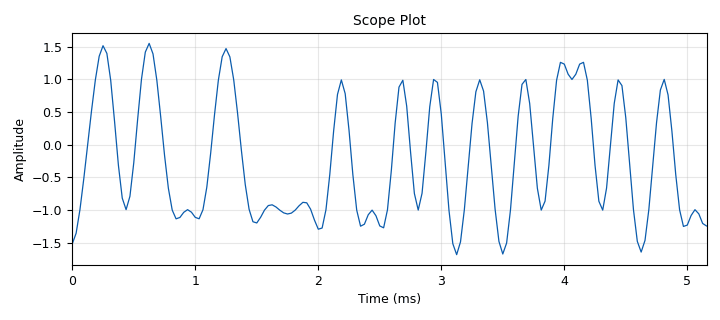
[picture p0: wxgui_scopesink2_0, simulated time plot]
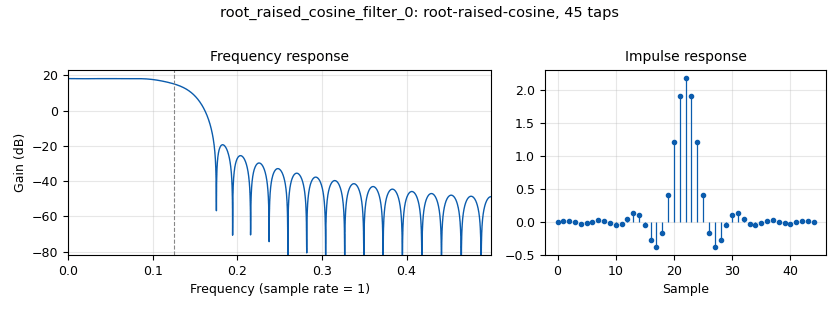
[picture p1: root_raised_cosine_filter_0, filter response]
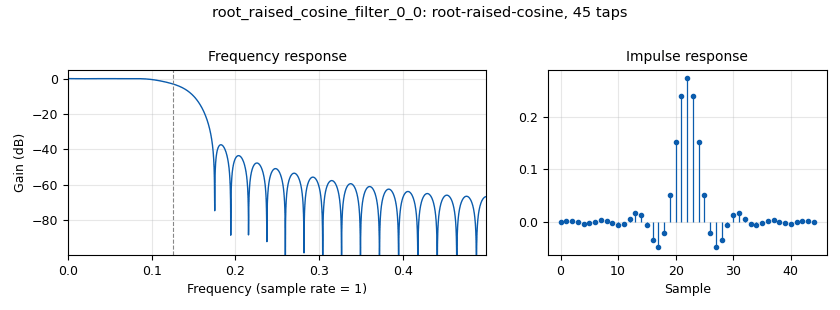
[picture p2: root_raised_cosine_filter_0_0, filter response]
<?xml version='1.0' encoding='utf-8'?>
<flow_graph>
<block>
<key>options</key>
<param><key>id</key><value>top_block</value></param>
<param><key>generate_options</key><value>wx_gui</value></param>
<param><key>category</key><value>Custom</value></param>
</block>
<block>
<key>variable</key>
<param><key>id</key><value>samp_rate</value></param>
<param><key>value</key><value>32000</value></param>
</block>
<block>
<key>gr_uchar_to_float</key>
<param><key>id</key><value>gr_uchar_to_float_0</value></param>
</block>
<block>
<key>random_source_x</key>
<param><key>id</key><value>random_source_x_0</value></param>
<param><key>type</key><value>byte</value></param>
<param><key>min</key><value>0</value></param>
<param><key>max</key><value>2</value></param>
<param><key>num_samps</key><value>1000</value></param>
<param><key>repeat</key><value>True</value></param>
</block>
<block>
<key>const_source_x</key>
<param><key>id</key><value>const_source_x_0</value></param>
<param><key>type</key><value>float</value></param>
<param><key>const</key><value>-0.5</value></param>
</block>
<block>
<key>variable_chooser</key>
<param><key>id</key><value>spb</value></param>
<param><key>label</key><value>Samples Per Bit</value></param>
<param><key>value</key><value>4</value></param>
<param><key>choices</key><value>[1, 2, 3, 4, 5, 6, 7, 8]</value></param>
<param><key>labels</key><value>[]</value></param>
<param><key>type</key><value>drop_down</value></param>
<param><key>style</key><value>wx.RA_HORIZONTAL</value></param>
</block>
<block>
<key>wxgui_scopesink2</key>
<param><key>id</key><value>wxgui_scopesink2_0</value></param>
<param><key>type</key><value>float</value></param>
<param><key>title</key><value>Scope Plot</value></param>
<param><key>samp_rate</key><value>samp_rate</value></param>
<param><key>v_scale</key><value>0</value></param>
<param><key>t_scale</key><value>0</value></param>
<param><key>ac_couple</key><value>False</value></param>
<param><key>xy_mode</key><value>False</value></param>
<param><key>num_inputs</key><value>1</value></param>
</block>
<block>
<key>gr_add_xx</key>
<param><key>id</key><value>gr_add_xx_0</value></param>
<param><key>type</key><value>float</value></param>
<param><key>num_inputs</key><value>2</value></param>
<param><key>vlen</key><value>1</value></param>
</block>
<block>
<key>variable_slider</key>
<param><key>id</key><value>noise_amp</value></param>
<param><key>label</key><value>noise_amp</value></param>
<param><key>value</key><value>0</value></param>
<param><key>min</key><value>0</value></param>
<param><key>max</key><value>1.0</value></param>
<param><key>num_steps</key><value>1000</value></param>
<param><key>style</key><value>wx.SL_HORIZONTAL</value></param>
<param><key>converver</key><value>float_converter</value></param>
</block>
<block>
<key>gr_throttle</key>
<param><key>id</key><value>gr_throttle_0</value></param>
<param><key>type</key><value>float</value></param>
<param><key>samples_per_second</key><value>samp_rate</value></param>
<param><key>vlen</key><value>1</value></param>
</block>
<block>
<key>gr_noise_source_x</key>
<param><key>id</key><value>gr_noise_source_x_0</value></param>
<param><key>type</key><value>float</value></param>
<param><key>noise_type</key><value>gr.GR_GAUSSIAN</value></param>
<param><key>amp</key><value>noise_amp</value></param>
<param><key>seed</key><value>42</value></param>
</block>
<block>
<key>root_raised_cosine_filter</key>
<param><key>id</key><value>root_raised_cosine_filter_0</value></param>
<param><key>type</key><value>interp_fir_filter_fff</value></param>
<param><key>interp</key><value>spb</value></param>
<param><key>gain</key><value>2*spb</value></param>
<param><key>samp_rate</key><value>1.0</value></param>
<param><key>sym_rate</key><value>1./spb</value></param>
<param><key>alpha</key><value>0.35</value></param>
<param><key>ntaps</key><value>11*spb</value></param>
</block>
<block>
<key>gr_add_xx</key>
<param><key>id</key><value>gr_add_xx_0_0</value></param>
<param><key>type</key><value>float</value></param>
<param><key>num_inputs</key><value>2</value></param>
<param><key>vlen</key><value>1</value></param>
</block>
<block>
<key>root_raised_cosine_filter</key>
<param><key>id</key><value>root_raised_cosine_filter_0_0</value></param>
<param><key>type</key><value>interp_fir_filter_fff</value></param>
<param><key>interp</key><value>1</value></param>
<param><key>gain</key><value>1</value></param>
<param><key>samp_rate</key><value>1.0</value></param>
<param><key>sym_rate</key><value>1./spb</value></param>
<param><key>alpha</key><value>0.35</value></param>
<param><key>ntaps</key><value>11*spb</value></param>
</block>
<connection><source_block_id>random_source_x_0</source_block_id><sink_block_id>gr_uchar_to_float_0</sink_block_id><source_key>0</source_key><sink_key>0</sink_key></connection>
<connection><source_block_id>gr_uchar_to_float_0</source_block_id><sink_block_id>gr_add_xx_0</sink_block_id><source_key>0</source_key><sink_key>0</sink_key></connection>
<connection><source_block_id>const_source_x_0</source_block_id><sink_block_id>gr_add_xx_0</sink_block_id><source_key>0</source_key><sink_key>1</sink_key></connection>
<connection><source_block_id>gr_add_xx_0</source_block_id><sink_block_id>root_raised_cosine_filter_0</sink_block_id><source_key>0</source_key><sink_key>0</sink_key></connection>
<connection><source_block_id>gr_throttle_0</source_block_id><sink_block_id>wxgui_scopesink2_0</sink_block_id><source_key>0</source_key><sink_key>0</sink_key></connection>
<connection><source_block_id>root_raised_cosine_filter_0</source_block_id><sink_block_id>gr_add_xx_0_0</sink_block_id><source_key>0</source_key><sink_key>0</sink_key></connection>
<connection><source_block_id>gr_noise_source_x_0</source_block_id><sink_block_id>gr_add_xx_0_0</sink_block_id><source_key>0</source_key><sink_key>1</sink_key></connection>
<connection><source_block_id>gr_add_xx_0_0</source_block_id><sink_block_id>root_raised_cosine_filter_0_0</sink_block_id><source_key>0</source_key><sink_key>0</sink_key></connection>
<connection><source_block_id>root_raised_cosine_filter_0_0</source_block_id><sink_block_id>gr_throttle_0</sink_block_id><source_key>0</source_key><sink_key>0</sink_key></connection>
</flow_graph>
